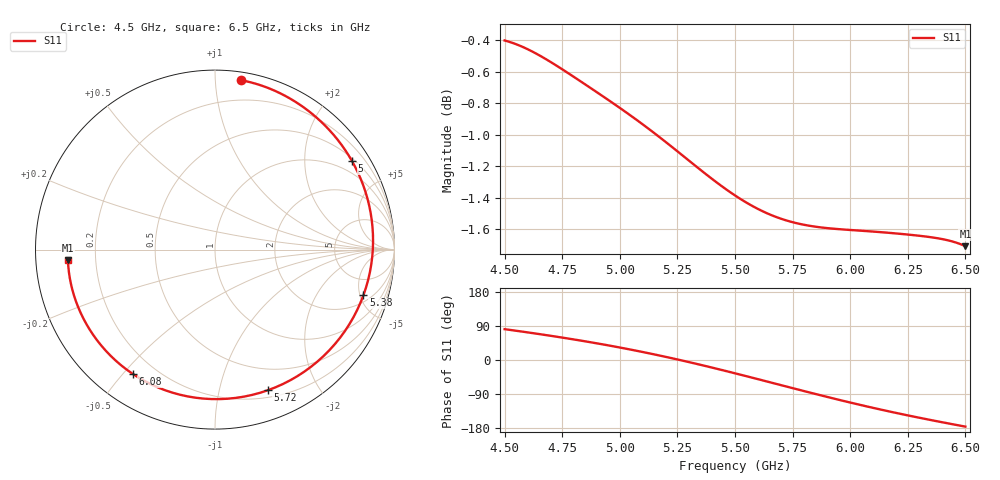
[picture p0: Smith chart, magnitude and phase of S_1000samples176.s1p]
! TOUCHSTONE file generated by CST MICROWAVE STUDIO
! Date and time: Thu Oct 27 06:28:06 2022
! Project name: L.cst
! Parameters = {Di=1.27; Epsilon_r=1.56; InnerDiameter=1.27; Length=2; Lf=10; Lg=60; OuterConductorThickness=0.2921; OuterDiameter=3.6; Wf=3; Wp=41.2; de=1.5; df=6.8; g=0.8; gx=4.3682; gy=0.796239; h=2.34; hf=1.524; px=9.7505; py=8.70586; w=9.7; wx=5.3823; wy=7.90962}
! Header version: 2018
! Port assignment regex: !\s*Touchstone port\s*([0-9]+)\s*=\s*(CST MWS port|CST DS port)\s*([0-9]+|Zmin|Zmax)\s*\(\"(.*)\"\)(\s*mode\s*([0-9]+))?.*
! Touchstone port assignment:
! Touchstone port 1 = CST MWS port 1 ("")
# GHz S DB R 50
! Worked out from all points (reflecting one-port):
!   101 points, 4.5 GHz to 6.5 GHz, reference 50 ohm
!   lowest |S11| = -1.7 dB at 6.5 GHz (marker M1), VSWR 10.20, Z = 4.91 - j1.8 ohm
!   phase of S11 starts at 81 deg and turns -257 deg over the sweep
!   S11 on the Smith chart (normalised r, x): 4.5 GHz: 0.05, +1.16; 5 GHz: 0.58, +3.29; 5.38 GHz: 2.67, -5.38; 5.72 GHz: 0.27, -1.41; 6.08 GHz: 0.12, -0.53; 6.5 GHz: 0.10, -0.04
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4.5  -0.40 81.4
4.64  -0.49 69.3
4.76  -0.59 58.2
4.88  -0.71 46.1
5  -0.83 32.9
5.08  -0.91 23.5
5.14  -0.98 16.0
5.2  -1.05 8.2
5.26  -1.12 0.1
5.32  -1.19 -8.4
5.38  -1.26 -17.0
5.44  -1.32 -26.0
5.5  -1.39 -35.1
5.56  -1.44 -44.4
5.62  -1.49 -53.8
5.72  -1.54 -69.5
5.76  -1.56 -75.8
5.82  -1.58 -85.1
5.88  -1.59 -94.4
5.94  -1.60 -103.4
6  -1.61 -112.2
6.08  -1.61 -123.6
6.18  -1.63 -137.1
6.26  -1.64 -147.4
6.32  -1.65 -154.8
6.38  -1.66 -162.0
6.44  -1.68 -169.0
6.5  -1.71 -175.8
